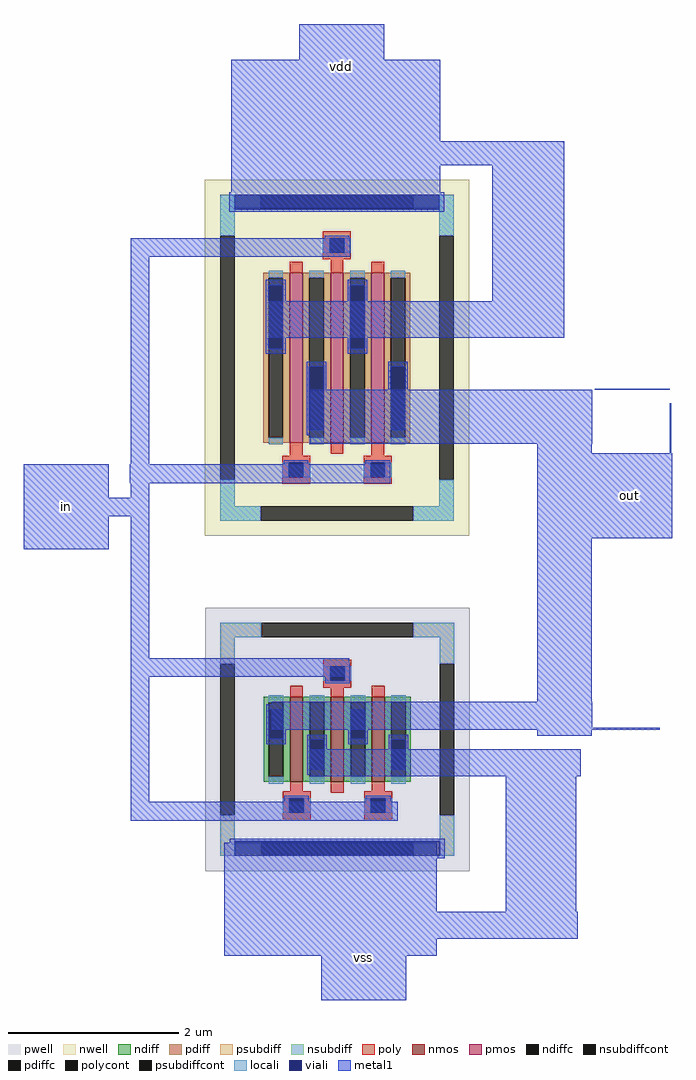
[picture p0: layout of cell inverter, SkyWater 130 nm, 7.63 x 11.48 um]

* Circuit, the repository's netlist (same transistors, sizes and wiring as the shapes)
** sch_path: /home/vipul/inverter/xschem/inverter.sch
.subckt inverter in out vdd vss
*.PININFO in:I out:O vdd:I vss:I
XM1 out in vss vss sky130_fd_pr__nfet_01v8 L=0.15 W=3 nf=3 ad='int((nf+1)/2) * W/nf * 0.29' as='int((nf+2)/2) * W/nf * 0.29'
+ pd='2*int((nf+1)/2) * (W/nf + 0.29)' ps='2*int((nf+2)/2) * (W/nf + 0.29)' nrd='0.29 / W' nrs='0.29 / W'
+ sa=0 sb=0 sd=0 mult=1 m=1
XM2 out in vdd vdd sky130_fd_pr__pfet_01v8 L=0.15 W=6 nf=3 ad='int((nf+1)/2) * W/nf * 0.29' as='int((nf+2)/2) * W/nf * 0.29'
+ pd='2*int((nf+1)/2) * (W/nf + 0.29)' ps='2*int((nf+2)/2) * (W/nf + 0.29)' nrd='0.29 / W' nrs='0.29 / W'
+ sa=0 sb=0 sd=0 mult=1 m=1
.ends
.end

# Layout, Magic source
magic
tech sky130A
magscale 1 2
<< metal1 >>
rect 168 2456 368 2540
rect 8 2264 500 2456
rect 8 2208 792 2264
rect 8 2108 500 2208
rect -228 1992 288 2036
rect -228 1504 -184 1992
rect 622 1888 792 2208
rect 96 1802 792 1888
rect 864 1680 1040 1682
rect 194 1552 858 1680
rect 728 1530 856 1552
rect 1040 1530 1044 1648
rect -480 1426 -280 1504
rect -230 1460 382 1504
rect -228 1426 -184 1460
rect -480 1382 -184 1426
rect -480 1304 -280 1382
rect -228 1048 -184 1382
rect 728 1330 1046 1530
rect -228 1004 286 1048
rect -228 710 -184 1004
rect 728 946 856 1330
rect 104 884 858 946
rect 104 880 1016 884
rect 728 866 856 880
rect 194 770 830 834
rect -228 666 400 710
rect -8 452 492 614
rect 654 452 820 770
rect -8 388 824 452
rect -8 348 492 388
rect 220 244 420 348
use sky130_fd_pr__nfet_01v8_H3H3JC  XM1
transform 1 0 258 0 1 857
box -311 -310 311 310
use sky130_fd_pr__pfet_01v8_3YVXDD  XM2
transform 1 0 257 0 1 1755
box -311 -419 311 419
<< labels >>
flabel metal1 -480 1304 -280 1504 0 FreeSans 256 0 0 0 in
port 0 nsew
flabel metal1 846 1330 1046 1530 0 FreeSans 256 0 0 0 out
port 1 nsew
flabel metal1 168 2340 368 2540 0 FreeSans 256 0 0 0 vdd
port 2 nsew
flabel metal1 220 244 420 444 0 FreeSans 256 0 0 0 vss
port 3 nsew
<< end >>

# cell sky130_fd_pr__nfet_01v8_H3H3JC: kit device sky130_fd_pr__nfet_01v8, w 1.0 l 0.15 m 1 nf 3 diffcov 100 polycov 100 guard 1 glc 1 grc 1 gtc 1 gbc 1 tbcov 100 rlcov 100 topc 1 botc 1 poverlap 0 doverlap 1 lmin 0.15 wmin 0.42 compatible {sky130_fd_pr__nfet_01v8 sky130_fd_pr__nfet_01v8_lvt sky130_fd_bs_flash__special_sonosfet_star sky130_fd_pr__nfet_g5v0d10v5 sky130_fd_pr__nfet_05v0_nvt sky130_fd_pr__nfet_03v3_nvt} full_metal 1 viasrc +40 viadrn -40 viagate 100 viagb 100 viagr 0 viagl 0 viagt 0

# cell sky130_fd_pr__pfet_01v8_3YVXDD: kit device sky130_fd_pr__pfet_01v8, w 2.0 l 0.15 m 1 nf 3 diffcov 100 polycov 100 guard 1 glc 1 grc 1 gtc 1 gbc 1 tbcov 100 rlcov 100 topc 1 botc 1 poverlap 0 doverlap 1 lmin 0.15 wmin 0.42 compatible {sky130_fd_pr__pfet_01v8 sky130_fd_pr__pfet_01v8_lvt sky130_fd_pr__pfet_01v8_hvt sky130_fd_pr__pfet_g5v0d10v5} full_metal 1 viasrc +40 viadrn -40 viagate 100 viagb 0 viagr 0 viagl 0 viagt 100
